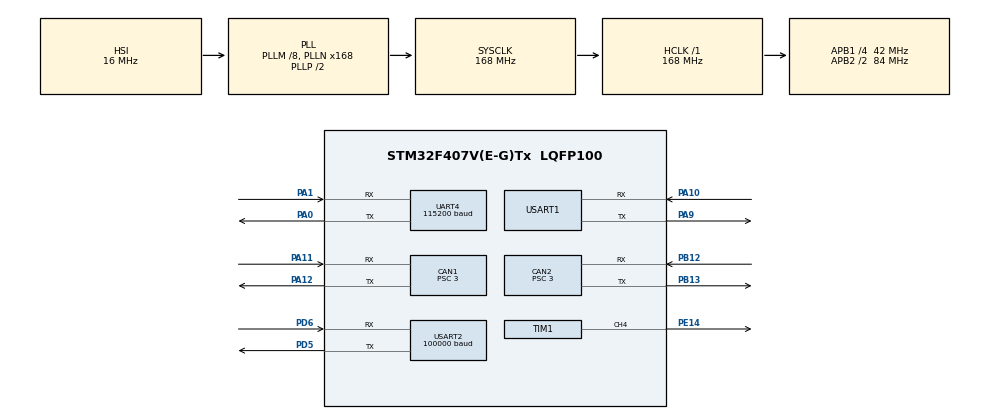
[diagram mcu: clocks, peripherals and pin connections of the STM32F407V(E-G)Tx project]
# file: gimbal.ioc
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CAN1.BS1=CAN_BS1_9TQ
CAN1.BS2=CAN_BS2_4TQ
CAN1.CalculateTimeQuantum=71.42857142857143
CAN1.Prescaler=3
CAN2.BS1=CAN_BS1_9TQ
CAN2.BS2=CAN_BS2_4TQ
CAN2.CalculateTimeQuantum=71.42857142857143
CAN2.Prescaler=3
Dma.Request0=USART1_RX
Dma.Request1=USART2_RX
Dma.USART1_RX.0.Direction=DMA_PERIPH_TO_MEMORY
Dma.USART1_RX.0.FIFOMode=DMA_FIFOMODE_DISABLE
Dma.USART1_RX.0.Instance=DMA2_Stream2
Dma.USART1_RX.0.MemDataAlignment=DMA_MDATAALIGN_BYTE
Dma.USART1_RX.0.MemInc=DMA_MINC_ENABLE
Dma.USART1_RX.0.Mode=DMA_CIRCULAR
Dma.USART1_RX.0.PeriphDataAlignment=DMA_PDATAALIGN_BYTE
Dma.USART1_RX.0.PeriphInc=DMA_PINC_DISABLE
Dma.USART1_RX.0.Priority=DMA_PRIORITY_MEDIUM
Dma.USART2_RX.1.Direction=DMA_PERIPH_TO_MEMORY
Dma.USART2_RX.1.FIFOMode=DMA_FIFOMODE_DISABLE
Dma.USART2_RX.1.Instance=DMA1_Stream5
Dma.USART2_RX.1.MemDataAlignment=DMA_MDATAALIGN_BYTE
Dma.USART2_RX.1.MemInc=DMA_MINC_ENABLE
Dma.USART2_RX.1.Mode=DMA_NORMAL
Dma.USART2_RX.1.PeriphDataAlignment=DMA_PDATAALIGN_BYTE
Dma.USART2_RX.1.PeriphInc=DMA_PINC_DISABLE
Dma.USART2_RX.1.Priority=DMA_PRIORITY_VERY_HIGH
FREERTOS.INCLUDE_vTaskDelayUntil=1
FREERTOS.Tasks01=defaultTask,0,512,StartDefaultTask,Default,NULL,Dynamic,NULL,NULL;printfTask,-1,512,Printf_Task,As weak,NULL,Dynamic,NULL,NULL;gimbalTask,1,512,Gimbal_Task,As weak,NULL,Dynamic,NULL,NULL;chassisTask,1,512,Chassis_Task,As weak,NULL,Dynamic,NULL,NULL;shootTask,1,512,Shoot_Task,As weak,NULL,Dynamic,NULL,NULL;visionTask,-1,512,Vision_Task,As weak,NULL,Dynamic,NULL,NULL
FREERTOS.configMAX_PRIORITIES=7
FREERTOS.configMINIMAL_STACK_SIZE=512
Mcu.Family=STM32F4
Mcu.Name=STM32F407V(E-G)Tx
Mcu.Package=LQFP100
NVIC.CAN1_RX0_IRQn=true\:5\:0\:false\:false\:true\:true\:true\:true
NVIC.CAN2_RX0_IRQn=true\:5\:0\:false\:false\:true\:true\:true\:true
NVIC.DMA1_Stream5_IRQn=true\:5\:0\:false\:false\:true\:true\:false\:true
NVIC.DMA2_Stream2_IRQn=true\:5\:0\:false\:false\:true\:true\:false\:true
NVIC.PriorityGroup=NVIC_PRIORITYGROUP_4
NVIC.TIM2_IRQn=true\:2\:0\:true\:false\:true\:false\:true\:true
NVIC.USART1_IRQn=true\:5\:0\:false\:false\:false\:true\:true\:false
NVIC.USART2_IRQn=true\:5\:0\:false\:false\:false\:true\:true\:false
PA0-WKUP.Mode=Asynchronous
PA0-WKUP.Signal=UART4_TX
PA1.Mode=Asynchronous
PA1.Signal=UART4_RX
PA10.Mode=Asynchronous
PA10.Signal=USART1_RX
PA11.Mode=Master
PA11.Signal=CAN1_RX
PA12.Mode=Master
PA12.Signal=CAN1_TX
PA9.Mode=Asynchronous
PA9.Signal=USART1_TX
PB12.Mode=Slave
PB12.Signal=CAN2_RX
PB13.Mode=Slave
PB13.Signal=CAN2_TX
PD5.Mode=Asynchronous
PD5.Signal=USART2_TX
PD6.Mode=Asynchronous
PD6.Signal=USART2_RX
PE14.Signal=S_TIM1_CH4
PH0-OSC_IN.Mode=HSE-External-Oscillator
PH0-OSC_IN.Signal=RCC_OSC_IN
PH1-OSC_OUT.Mode=HSE-External-Oscillator
PH1-OSC_OUT.Signal=RCC_OSC_OUT
ProjectManager.HeapSize=0x200
ProjectManager.StackSize=0x400
ProjectManager.TargetToolchain=MDK-ARM V5
RCC.48MHZClocksFreq_Value=84000000
RCC.AHBFreq_Value=168000000
RCC.APB1CLKDivider=RCC_HCLK_DIV4
RCC.APB1Freq_Value=42000000
RCC.APB1TimFreq_Value=84000000
RCC.APB2CLKDivider=RCC_HCLK_DIV2
RCC.APB2Freq_Value=84000000
RCC.APB2TimFreq_Value=168000000
RCC.CortexFreq_Value=168000000
RCC.HCLKFreq_Value=168000000
RCC.HSE_VALUE=8000000
RCC.HSI_VALUE=16000000
RCC.LSE_VALUE=32768
RCC.PLLM=8
RCC.PLLN=168
RCC.SYSCLKFreq_VALUE=168000000
RCC.SYSCLKSource=RCC_SYSCLKSOURCE_PLLCLK
RCC.VCOOutputFreq_Value=336000000
SH.S_TIM1_CH4.0=TIM1_CH4,PWM Generation4 CH4
TIM1.Channel-PWM\ Generation4\ CH4=TIM_CHANNEL_4
TIM1.Period=19999
TIM1.Prescaler=167
TIM2.Period=200-1
TIM2.Prescaler=840-1
TIM6.Period=65535
UART4.BaudRate=115200
UART4.VirtualMode=Asynchronous
USART1.VirtualMode=VM_ASYNC
USART2.BaudRate=100000
USART2.VirtualMode=VM_ASYNC
VP_FREERTOS_VS_CMSIS_V1.Mode=CMSIS_V1
VP_TIM1_VS_ClockSourceINT.Mode=Internal
VP_TIM2_VS_ClockSourceINT.Mode=Internal
VP_TIM6_VS_ClockSourceINT.Mode=Enable_Timer
board=custom

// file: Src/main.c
/* USER CODE BEGIN Header */
/**
  ******************************************************************************
  * @file           : main.c
  * @brief          : Main program body
  ******************************************************************************
  * @attention
  *
  * <h2><center>&copy; Copyright (c) 2020 STMicroelectronics.
  * All rights reserved.</center></h2>
  *
  * This software component is licensed by ST under Ultimate Liberty license
  * SLA0044, the "License"; You may not use this file except in compliance with
  * the License. You may obtain a copy of the License at:
  *                             www.st.com/SLA0044
  *
  ******************************************************************************
  */
/* USER CODE END Header */

#include "main.h"
#include "cmsis_os.h"
#include "can.h"
#include "dma.h"
#include "tim.h"
#include "usart.h"
#include "gpio.h"

/* USER CODE BEGIN Includes */
#include "bsp_can.h"
#include "bsp_usart.h"
#include "led.h"
#include "mpu6050.h"
#include "bsp_tim.h"
#include "rc.h"
#include "vision.h"
/* USER CODE END Includes */

void SystemClock_Config(void);
void MX_FREERTOS_Init(void);

int main(void)
{

  /* MCU Configuration--------------------------------------------------------*/

  /* Reset of all peripherals, Initializes the Flash interface and the Systick. */
  HAL_Init();

  /* Configure the system clock */
  SystemClock_Config();

  /* Initialize all configured peripherals */
  MX_GPIO_Init();
  MX_DMA_Init();
  MX_CAN1_Init();
  MX_CAN2_Init();
  MX_USART2_UART_Init();
  MX_TIM2_Init();
  MX_TIM6_Init();
  MX_UART4_Init();
  MX_USART1_UART_Init();
  MX_TIM1_Init();
  /* USER CODE BEGIN 2 */

	DELAY_init();
	Bsp_tim2Init();
	Bsp_tim1Init();
	Bsp_canInit();
	led_init();

	remote_control_init();
	vision_usart_init();

	while(MPU_init()){printf("mpu_error\r\n");}

  /* USER CODE END 2 */

  /* Call init function for freertos objects (in freertos.c) */
  MX_FREERTOS_Init();

  /* Start scheduler */
  osKernelStart();

  /* We should never get here as control is now taken by the scheduler */

  /* Infinite loop */
  while (1)
  {

  }
}

void SystemClock_Config(void)
{
  RCC_OscInitTypeDef RCC_OscInitStruct = {0};
  RCC_ClkInitTypeDef RCC_ClkInitStruct = {0};

  /** Configure the main internal regulator output voltage
  */
  __HAL_RCC_PWR_CLK_ENABLE();
  __HAL_PWR_VOLTAGESCALING_CONFIG(PWR_REGULATOR_VOLTAGE_SCALE1);
  /** Initializes the CPU, AHB and APB busses clocks
  */
  RCC_OscInitStruct.OscillatorType = RCC_OSCILLATORTYPE_HSI;
  RCC_OscInitStruct.HSIState = RCC_HSI_ON;
  RCC_OscInitStruct.HSICalibrationValue = RCC_HSICALIBRATION_DEFAULT;
  RCC_OscInitStruct.PLL.PLLState = RCC_PLL_ON;
  RCC_OscInitStruct.PLL.PLLSource = RCC_PLLSOURCE_HSI;
  RCC_OscInitStruct.PLL.PLLM = 8;
  RCC_OscInitStruct.PLL.PLLN = 168;
  RCC_OscInitStruct.PLL.PLLP = RCC_PLLP_DIV2;
  RCC_OscInitStruct.PLL.PLLQ = 4;
  if (HAL_RCC_OscConfig(&RCC_OscInitStruct) != HAL_OK)
  {
    Error_Handler();
  }
  /** Initializes the CPU, AHB and APB busses clocks
  */
  RCC_ClkInitStruct.ClockType = RCC_CLOCKTYPE_HCLK|RCC_CLOCKTYPE_SYSCLK
                              |RCC_CLOCKTYPE_PCLK1|RCC_CLOCKTYPE_PCLK2;
  RCC_ClkInitStruct.SYSCLKSource = RCC_SYSCLKSOURCE_PLLCLK;
  RCC_ClkInitStruct.AHBCLKDivider = RCC_SYSCLK_DIV1;
  RCC_ClkInitStruct.APB1CLKDivider = RCC_HCLK_DIV4;
  RCC_ClkInitStruct.APB2CLKDivider = RCC_HCLK_DIV2;

  if (HAL_RCC_ClockConfig(&RCC_ClkInitStruct, FLASH_LATENCY_5) != HAL_OK)
  {
    Error_Handler();
  }
}

void Error_Handler(void)
{
}

/************************ (C) COPYRIGHT STMicroelectronics *****END OF FILE****/

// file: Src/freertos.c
/* USER CODE BEGIN Header */
/**
  ******************************************************************************
  * File Name          : freertos.c
  * Description        : Code for freertos applications
  ******************************************************************************
  * @attention
  *
  * <h2><center>&copy; Copyright (c) 2020 STMicroelectronics.
  * All rights reserved.</center></h2>
  *
  * This software component is licensed by ST under Ultimate Liberty license
  * SLA0044, the "License"; You may not use this file except in compliance with
  * the License. You may obtain a copy of the License at:
  *                             www.st.com/SLA0044
  *
  ******************************************************************************
  */
/* USER CODE END Header */

#include "FreeRTOS.h"
#include "task.h"
#include "main.h"
#include "cmsis_os.h"

osThreadId defaultTaskHandle;
osThreadId printfTaskHandle;
osThreadId gimbalTaskHandle;
osThreadId chassisTaskHandle;
osThreadId shootTaskHandle;
osThreadId visionTaskHandle;

void StartDefaultTask(void const * argument);
void Printf_Task(void const * argument);
void Gimbal_Task(void const * argument);
void Chassis_Task(void const * argument);
void Shoot_Task(void const * argument);
void Vision_Task(void const * argument);

void MX_FREERTOS_Init(void); /* (MISRA C 2004 rule 8.1) */

/* GetIdleTaskMemory prototype (linked to static allocation support) */
void vApplicationGetIdleTaskMemory( StaticTask_t **ppxIdleTaskTCBBuffer, StackType_t **ppxIdleTaskStackBuffer, uint32_t *pulIdleTaskStackSize );

/* USER CODE BEGIN GET_IDLE_TASK_MEMORY */
static StaticTask_t xIdleTaskTCBBuffer;
static StackType_t xIdleStack[configMINIMAL_STACK_SIZE];

void vApplicationGetIdleTaskMemory( StaticTask_t **ppxIdleTaskTCBBuffer, StackType_t **ppxIdleTaskStackBuffer, uint32_t *pulIdleTaskStackSize )
{
  *ppxIdleTaskTCBBuffer = &xIdleTaskTCBBuffer;
  *ppxIdleTaskStackBuffer = &xIdleStack[0];
  *pulIdleTaskStackSize = configMINIMAL_STACK_SIZE;
  /* place for user code */
}
/* USER CODE END GET_IDLE_TASK_MEMORY */

void MX_FREERTOS_Init(void) {

  /* Create the thread(s) */
  /* definition and creation of defaultTask */
  osThreadDef(defaultTask, StartDefaultTask, osPriorityNormal, 0, 512);
  defaultTaskHandle = osThreadCreate(osThread(defaultTask), NULL);

  /* definition and creation of printfTask */
  osThreadDef(printfTask, Printf_Task, osPriorityBelowNormal, 0, 512);
  printfTaskHandle = osThreadCreate(osThread(printfTask), NULL);

  /* definition and creation of gimbalTask */
  osThreadDef(gimbalTask, Gimbal_Task, osPriorityAboveNormal, 0, 512);
  gimbalTaskHandle = osThreadCreate(osThread(gimbalTask), NULL);

  /* definition and creation of chassisTask */
  osThreadDef(chassisTask, Chassis_Task, osPriorityAboveNormal, 0, 512);
  chassisTaskHandle = osThreadCreate(osThread(chassisTask), NULL);

  /* definition and creation of shootTask */
  osThreadDef(shootTask, Shoot_Task, osPriorityAboveNormal, 0, 512);
  shootTaskHandle = osThreadCreate(osThread(shootTask), NULL);

  /* definition and creation of visionTask */
  osThreadDef(visionTask, Vision_Task, osPriorityBelowNormal, 0, 512);
  visionTaskHandle = osThreadCreate(osThread(visionTask), NULL);

}

void StartDefaultTask(void const * argument)
{
  for(;;)
  {
    osDelay(1);
  }
}

__weak void Printf_Task(void const * argument)
{
  for(;;)
  {
    osDelay(1);
  }
}

__weak void Gimbal_Task(void const * argument)
{
  for(;;)
  {
    osDelay(1);
  }
}

__weak void Chassis_Task(void const * argument)
{
  for(;;)
  {
    osDelay(1);
  }
}

__weak void Shoot_Task(void const * argument)
{
  for(;;)
  {
    osDelay(1);
  }
}

__weak void Vision_Task(void const * argument)
{
  for(;;)
  {
    osDelay(1);
  }
}

/************************ (C) COPYRIGHT STMicroelectronics *****END OF FILE****/
